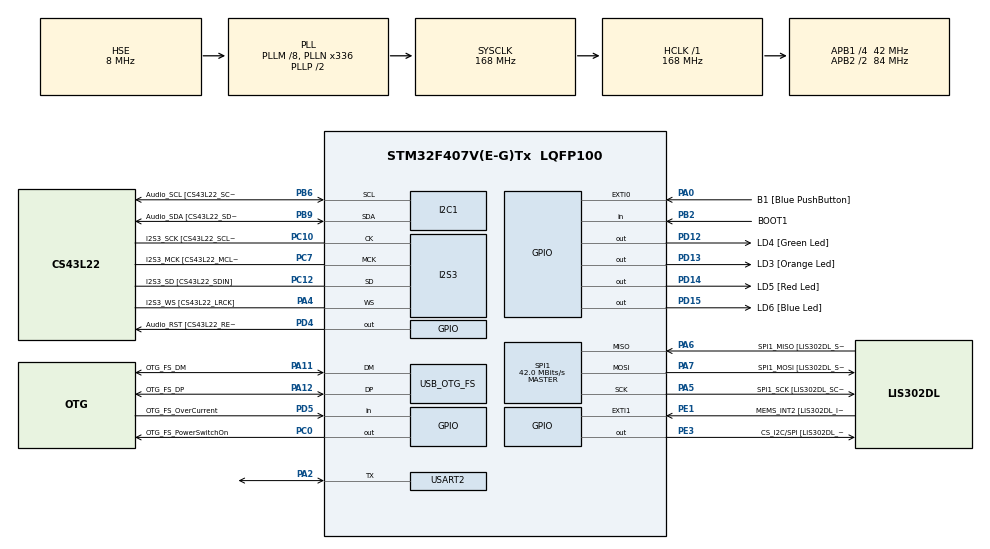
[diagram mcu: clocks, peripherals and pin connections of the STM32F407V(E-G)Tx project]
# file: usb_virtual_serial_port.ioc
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Mcu.Family=STM32F4
PA11.GPIO_Speed=GPIO_SPEED_FREQ_LOW
PC3.GPIO_Mode=GPIO_MODE_AF_PP
PD12.GPIO_Label=LD4 [Green Led]
PA6.Mode=Full_Duplex_Master
USB_DEVICE.CLASS_NAME_FS=CDC
PH0-OSC_IN.Signal=RCC_OSC_IN
RCC.CortexFreq_Value=168000000
PC10.GPIO_PuPd=GPIO_NOPULL
PB10.GPIO_Speed=GPIO_SPEED_FREQ_LOW
SPI1.VirtualType=VM_MASTER
PB6.GPIO_Mode=GPIO_MODE_AF_OD
PB10.GPIO_PuPd=GPIO_NOPULL
PA10.GPIO_PuPd=GPIO_NOPULL
PD15.GPIO_Speed=GPIO_SPEED_FREQ_LOW
PC10.Signal=I2S3_CK
PC12.Signal=I2S3_SD
PA14.GPIO_Label=SWCLK
PA7.GPIO_Mode=GPIO_MODE_AF_PP
PC0.GPIO_Label=OTG_FS_PowerSwitchOn
PA11.Mode=Device_Only
PA6.GPIO_Label=SPI1_MISO [LIS302DL_SDO]
PB6.GPIO_Label=Audio_SCL [CS43L22_SCL]
USB_DEVICE.VirtualMode-CDC_FS=Cdc
PC10.GPIO_Speed=GPIO_SPEED_FREQ_LOW
PA11.GPIO_PuPd=GPIO_NOPULL
PC15-OSC32_OUT.GPIO_Label=PC15-OSC32_OUT
PC3.GPIO_Speed=GPIO_SPEED_FREQ_LOW
RCC.SYSCLKSource=RCC_SYSCLKSOURCE_PLLCLK
ProjectManager.StackSize=0x400
PA6.GPIO_Mode=GPIO_MODE_AF_PP
SPI1.Mode-Full_Duplex_Master=SPI_MODE_MASTER
PD13.Signal=GPIO_Output
PD14.GPIO_Speed=GPIO_SPEED_FREQ_LOW
PA12.Signal=USB_OTG_FS_DP
PA4.Mode=Half_Duplex_Master
SPI1.Direction=SPI_DIRECTION_2LINES
I2S3.AudioFreq-Half_Duplex_Master=I2S_AUDIOFREQ_96K
RCC.HCLKFreq_Value=168000000
PD4.Signal=GPIO_Output
RCC.APB2TimFreq_Value=168000000
PB6.Signal=I2C1_SCL
PC7.Signal=I2S3_MCK
PB6.Mode=I2C
SPI1.CalculateBaudRate=42.0 MBits/s
PC3.Signal=I2S2_SD
PE1.Signal=GPXTI1
RCC.AHBFreq_Value=168000000
PH0-OSC_IN.Mode=HSE-External-Oscillator
PH0-OSC_IN.GPIO_Label=PH0-OSC_IN
PA9.GPIO_Mode=GPIO_MODE_INPUT
RCC.HSE_VALUE=8000000
PA4.GPIO_PuPd=GPIO_NOPULL
PB2.Signal=GPIO_Input
PA4.GPIO_Speed=GPIO_SPEED_FREQ_LOW
I2S3.ErrorAudioFreq=-2.34 %
PA6.GPIO_PuPd=GPIO_NOPULL
PA14.Mode=Serial_Wire
PA5.GPIO_PuPd=GPIO_NOPULL
I2S3.ErrorAudioFreq-Half_Duplex_Master=0.8 %
PA10.GPIO_Label=OTG_FS_ID
PC7.GPIO_Mode=GPIO_MODE_AF_PP
PD5.GPIO_Mode=GPIO_MODE_INPUT
PD14.GPIO_PuPd=GPIO_NOPULL
PB2.GPIO_PuPd=GPIO_NOPULL
SPI1.CalculateBaudRate-Full_Duplex_Master=42.0 MBits/s
PH1-OSC_OUT.Mode=HSE-External-Oscillator
PD13.GPIO_Label=LD3 [Orange Led]
Mcu.Package=LQFP100
PB9.Signal=I2C1_SDA
PA6.Signal=SPI1_MISO
USART2.VirtualMode=VM_ASYNC
PD12.Signal=GPIO_Output
PD5.GPIO_Label=OTG_FS_OverCurrent
NVIC.OTG_FS_IRQn=true\:0\:0\:false\:false\:true\:true\:true
PD15.GPIO_PuPd=GPIO_NOPULL
PA10.Signal=USB_OTG_FS_ID
PB9.GPIO_PuPd=GPIO_NOPULL
USB_OTG_FS.VirtualMode=Device_Only
PA10.GPIO_Speed=GPIO_SPEED_FREQ_LOW
RCC.APB2CLKDivider=RCC_HCLK_DIV2
PB9.GPIO_Speed=GPIO_SPEED_FREQ_LOW
RCC.APB1TimFreq_Value=84000000
PC14-OSC32_IN.GPIO_Label=PC14-OSC32_IN
PC12.GPIO_PuPd=GPIO_NOPULL
PA6.GPIO_Speed=GPIO_SPEED_FREQ_LOW
PC0.GPIO_PuPd=GPIO_NOPULL
PA12.GPIO_PuPd=GPIO_NOPULL
PA4.GPIO_Label=I2S3_WS [CS43L22_LRCK]
PD15.Signal=GPIO_Output
PC0.PinState=GPIO_PIN_SET
PA12.GPIO_Speed=GPIO_SPEED_FREQ_LOW
PA5.Mode=Full_Duplex_Master
PB3.GPIO_Label=SWO
I2S3.FullDuplexMode=I2S_FULLDUPLEXMODE_DISABLE
PD12.GPIO_Speed=GPIO_SPEED_FREQ_LOW
PD15.GPIO_Label=LD6 [Blue Led]
PA7.Mode=Full_Duplex_Master
PB9.GPIO_Label=Audio_SDA [CS43L22_SDA]
PC10.GPIO_Label=I2S3_SCK [CS43L22_SCLK]
USB_DEVICE.VirtualModeFS=Cdc_FS
PA9.GPIO_Label=VBUS_FS
PB6.GPIO_PuPd=GPIO_NOPULL
PC10.Mode=Half_Duplex_Master
PA11.GPIO_Label=OTG_FS_DM
PE1.GPIO_PuPd=GPIO_NOPULL
PD5.Signal=GPIO_Input
PC0.Signal=GPIO_Output
PE1.GPIO_ModeDefaultEXTI=GPIO_MODE_EVT_RISING
RCC.APB1CLKDivider=RCC_HCLK_DIV4
PC14-OSC32_IN.Signal=RCC_OSC32_IN
PA9.GPIO_PuPd=GPIO_NOPULL
NVIC.USART2_IRQn=true\:0\:0\:false\:false\:true\:true\:true
PA0-WKUP.GPIO_ModeDefaultEXTI=GPIO_MODE_EVT_RISING
PA12.GPIO_Label=OTG_FS_DP
PA0-WKUP.GPIO_Label=B1 [Blue PushButton]
PA0-WKUP.Signal=GPXTI0
PA10.GPIO_Mode=GPIO_MODE_AF_PP
PA13.Signal=SYS_JTMS-SWDIO
PC10.GPIO_Mode=GPIO_MODE_AF_PP
PD4.GPIO_PuPd=GPIO_NOPULL
PC0.GPIO_Speed=GPIO_SPEED_FREQ_LOW
PB10.GPIO_Mode=GPIO_MODE_AF_PP
I2S3.RealAudioFreq-Half_Duplex_Master=96.774 KHz
ProjectManager.TargetToolchain=STM32CubeIDE
PB10.GPIO_Label=CLK_IN [MP45DT02_CLK]
VP_USB_DEVICE_VS_USB_DEVICE_CDC_FS.Mode=CDC_FS
PB9.Mode=I2C
PA9.Signal=USB_OTG_FS_VBUS
I2S3.VirtualMode=I2S_MODE_MASTER
PC7.GPIO_PuPd=GPIO_NOPULL
RCC.LSE_VALUE=32768
PC15-OSC32_OUT.Signal=RCC_OSC32_OUT
PA7.GPIO_PuPd=GPIO_NOPULL
PB10.Signal=I2S2_CK
PA5.Signal=SPI1_SCK
PC12.Mode=Half_Duplex_Master
board=STM32F407G-DISC1
PD13.GPIO_Speed=GPIO_SPEED_FREQ_LOW
PC7.GPIO_Speed=GPIO_SPEED_FREQ_LOW
RCC.VCOOutputFreq_Value=336000000
PE1.GPIO_Label=MEMS_INT2 [LIS302DL_INT2]
PA7.GPIO_Speed=GPIO_SPEED_FREQ_LOW
PB9.GPIO_Mode=GPIO_MODE_AF_OD
PA12.GPIO_Mode=GPIO_MODE_AF_PP
PA4.GPIO_Mode=GPIO_MODE_AF_PP
RCC.APB2Freq_Value=84000000
PB2.GPIO_Mode=GPIO_MODE_INPUT
SPI1.Mode=SPI_MODE_MASTER
PD4.GPIO_Label=Audio_RST [CS43L22_RESET]
PD4.GPIO_Speed=GPIO_SPEED_FREQ_LOW
PE3.GPIO_PuPd=GPIO_NOPULL
PH1-OSC_OUT.Signal=RCC_OSC_OUT
PD13.GPIO_PuPd=GPIO_NOPULL
PD5.GPIO_PuPd=GPIO_NOPULL
PD14.GPIO_Label=LD5 [Red Led]
PH1-OSC_OUT.GPIO_Label=PH1-OSC_OUT
PA13.Mode=Serial_Wire
Mcu.Name=STM32F407V(E-G)Tx
PA2.Signal=USART2_TX
PA13.GPIO_Label=SWDIO
PC7.GPIO_Label=I2S3_MCK [CS43L22_MCLK]
PD14.Signal=GPIO_Output
RCC.48MHZClocksFreq_Value=48000000
PB3.Signal=SYS_JTDO-SWO
PA4.Signal=I2S3_WS
RCC.SYSCLKFreq_VALUE=168000000
PC12.GPIO_Mode=GPIO_MODE_AF_PP
PA7.GPIO_Label=SPI1_MOSI [LIS302DL_SDA/SDI/SDO]
PA12.Mode=Device_Only
PA5.GPIO_Label=SPI1_SCK [LIS302DL_SCL/SPC]
PE3.GPIO_Speed=GPIO_SPEED_FREQ_LOW
PC12.GPIO_Label=I2S3_SD [CS43L22_SDIN]
PA11.Signal=USB_OTG_FS_DM
PA14.Signal=SYS_JTCK-SWCLK
PB2.GPIO_Label=BOOT1
ProjectManager.HeapSize=0x200
RCC.HSI_VALUE=16000000
PA5.GPIO_Speed=GPIO_SPEED_FREQ_LOW
RCC.PLLQ=7
NVIC.PriorityGroup=NVIC_PRIORITYGROUP_0
I2S3.RealAudioFreq=93.75 KHz
RCC.PLLM=8
RCC.PLLN=336
PE3.Signal=GPIO_Output
PA2.Mode=Half_duplex(single_wire_mode)
PE3.GPIO_Label=CS_I2C/SPI [LIS302DL_CS_I2C/SPI]
PC3.GPIO_Label=PDM_OUT [MP45DT02_DOUT]
PA0-WKUP.GPIO_PuPd=GPIO_NOPULL
I2S3.Instance=SPI$Index
PC7.Mode=Master_Clock_Activated
PA11.GPIO_Mode=GPIO_MODE_AF_PP
PB6.GPIO_Speed=GPIO_SPEED_FREQ_LOW
RCC.APB1Freq_Value=42000000
PA5.GPIO_Mode=GPIO_MODE_AF_PP
PC12.GPIO_Speed=GPIO_SPEED_FREQ_LOW
SPI1.BaudRatePrescaler-Full_Duplex_Master=SPI_BAUDRATEPRESCALER_2
PC3.GPIO_PuPd=GPIO_NOPULL
PD12.GPIO_PuPd=GPIO_NOPULL
PA7.Signal=SPI1_MOSI

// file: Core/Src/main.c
/* USER CODE BEGIN Header */
/**
  ******************************************************************************
  * @file           : main.c
  * @brief          : Main program body
  ******************************************************************************
  * @attention
  *
  * <h2><center>&copy; Copyright (c) 2022 STMicroelectronics.
  * All rights reserved.</center></h2>
  *
  * This software component is licensed by ST under Ultimate Liberty license
  * SLA0044, the "License"; You may not use this file except in compliance with
  * the License. You may obtain a copy of the License at:
  *                             www.st.com/SLA0044
  *
  ******************************************************************************
  */
/* USER CODE END Header */
#include "main.h"
#include "usb_device.h"

/* USER CODE BEGIN Includes */
#include "onewire.h"
#include "bme280.h"
/* USER CODE END Includes */

I2C_HandleTypeDef hi2c1;

I2S_HandleTypeDef hi2s3;

SPI_HandleTypeDef hspi1;

UART_HandleTypeDef huart2;

void SystemClock_Config(void);
static void MX_GPIO_Init(void);
static void MX_I2C1_Init(void);
static void MX_I2S3_Init(void);
static void MX_SPI1_Init(void);
static void MX_USART2_UART_Init(void);

/* USER CODE BEGIN 0 */
extern float Temp[MAXDEVICES_ON_THE_BUS];
float Pressure, Humidity;
float Temperature;
/* USER CODE END 0 */

int main(void)
{

  /* MCU Configuration--------------------------------------------------------*/

  /* Reset of all peripherals, Initializes the Flash interface and the Systick. */
  HAL_Init();

  /* Configure the system clock */
  SystemClock_Config();

  /* Initialize all configured peripherals */
  MX_GPIO_Init();
  MX_I2C1_Init();
  MX_I2S3_Init();
  MX_SPI1_Init();
  MX_USB_DEVICE_Init();
  MX_USART2_UART_Init();
  /* USER CODE BEGIN 2 */
  get_ROMid();
  BME280_Config(OSRS_2, OSRS_16, OSRS_1, MODE_NORMAL, T_SB_0p5, IIR_16);

  /* USER CODE END 2 */

  /* Infinite loop */
  while (1)
  {

    /* USER CODE BEGIN 3 */
	uint8_t msg_buffer[64];

	get_Temperature();
	snprintf(msg_buffer, sizeof(msg_buffer), "DS18B20 temp = %.1f\r\n", Temp[0]);
	CDC_Transmit_FS((uint8_t*)msg_buffer, strlen(msg_buffer));

	BME280_Measure();
	snprintf(msg_buffer, sizeof(msg_buffer), "BME280 temp = %.1f, pressure = %.1f, humidity = %.1f\r\n", Temperature, Pressure, Humidity);
	CDC_Transmit_FS((uint8_t*)msg_buffer, strlen(msg_buffer));

	HAL_GPIO_TogglePin (GPIOD, GPIO_PIN_12);
	HAL_Delay (2000);   /* Insert delay 1 s */
  }
  /* USER CODE END 3 */
}

void SystemClock_Config(void)
{
  RCC_OscInitTypeDef RCC_OscInitStruct = {0};
  RCC_ClkInitTypeDef RCC_ClkInitStruct = {0};
  RCC_PeriphCLKInitTypeDef PeriphClkInitStruct = {0};

  /** Configure the main internal regulator output voltage
  */
  __HAL_RCC_PWR_CLK_ENABLE();
  __HAL_PWR_VOLTAGESCALING_CONFIG(PWR_REGULATOR_VOLTAGE_SCALE1);
  /** Initializes the RCC Oscillators according to the specified parameters
  * in the RCC_OscInitTypeDef structure.
  */
  RCC_OscInitStruct.OscillatorType = RCC_OSCILLATORTYPE_HSE;
  RCC_OscInitStruct.HSEState = RCC_HSE_ON;
  RCC_OscInitStruct.PLL.PLLState = RCC_PLL_ON;
  RCC_OscInitStruct.PLL.PLLSource = RCC_PLLSOURCE_HSE;
  RCC_OscInitStruct.PLL.PLLM = 8;
  RCC_OscInitStruct.PLL.PLLN = 336;
  RCC_OscInitStruct.PLL.PLLP = RCC_PLLP_DIV2;
  RCC_OscInitStruct.PLL.PLLQ = 7;
  if (HAL_RCC_OscConfig(&RCC_OscInitStruct) != HAL_OK)
  {
    Error_Handler();
  }
  /** Initializes the CPU, AHB and APB buses clocks
  */
  RCC_ClkInitStruct.ClockType = RCC_CLOCKTYPE_HCLK|RCC_CLOCKTYPE_SYSCLK
                              |RCC_CLOCKTYPE_PCLK1|RCC_CLOCKTYPE_PCLK2;
  RCC_ClkInitStruct.SYSCLKSource = RCC_SYSCLKSOURCE_PLLCLK;
  RCC_ClkInitStruct.AHBCLKDivider = RCC_SYSCLK_DIV1;
  RCC_ClkInitStruct.APB1CLKDivider = RCC_HCLK_DIV4;
  RCC_ClkInitStruct.APB2CLKDivider = RCC_HCLK_DIV2;

  if (HAL_RCC_ClockConfig(&RCC_ClkInitStruct, FLASH_LATENCY_5) != HAL_OK)
  {
    Error_Handler();
  }
  PeriphClkInitStruct.PeriphClockSelection = RCC_PERIPHCLK_I2S;
  PeriphClkInitStruct.PLLI2S.PLLI2SN = 192;
  PeriphClkInitStruct.PLLI2S.PLLI2SR = 2;
  if (HAL_RCCEx_PeriphCLKConfig(&PeriphClkInitStruct) != HAL_OK)
  {
    Error_Handler();
  }
}

static void MX_I2C1_Init(void)
{

  hi2c1.Instance = I2C1;
  hi2c1.Init.ClockSpeed = 100000;
  hi2c1.Init.DutyCycle = I2C_DUTYCYCLE_2;
  hi2c1.Init.OwnAddress1 = 0;
  hi2c1.Init.AddressingMode = I2C_ADDRESSINGMODE_7BIT;
  hi2c1.Init.DualAddressMode = I2C_DUALADDRESS_DISABLE;
  hi2c1.Init.OwnAddress2 = 0;
  hi2c1.Init.GeneralCallMode = I2C_GENERALCALL_DISABLE;
  hi2c1.Init.NoStretchMode = I2C_NOSTRETCH_DISABLE;
  if (HAL_I2C_Init(&hi2c1) != HAL_OK)
  {
    Error_Handler();
  }

}

static void MX_I2S3_Init(void)
{

  hi2s3.Instance = SPI3;
  hi2s3.Init.Mode = I2S_MODE_MASTER_TX;
  hi2s3.Init.Standard = I2S_STANDARD_PHILIPS;
  hi2s3.Init.DataFormat = I2S_DATAFORMAT_16B;
  hi2s3.Init.MCLKOutput = I2S_MCLKOUTPUT_ENABLE;
  hi2s3.Init.AudioFreq = I2S_AUDIOFREQ_96K;
  hi2s3.Init.CPOL = I2S_CPOL_LOW;
  hi2s3.Init.ClockSource = I2S_CLOCK_PLL;
  hi2s3.Init.FullDuplexMode = I2S_FULLDUPLEXMODE_DISABLE;
  if (HAL_I2S_Init(&hi2s3) != HAL_OK)
  {
    Error_Handler();
  }

}

static void MX_SPI1_Init(void)
{

  /* SPI1 parameter configuration*/
  hspi1.Instance = SPI1;
  hspi1.Init.Mode = SPI_MODE_MASTER;
  hspi1.Init.Direction = SPI_DIRECTION_2LINES;
  hspi1.Init.DataSize = SPI_DATASIZE_8BIT;
  hspi1.Init.CLKPolarity = SPI_POLARITY_LOW;
  hspi1.Init.CLKPhase = SPI_PHASE_1EDGE;
  hspi1.Init.NSS = SPI_NSS_SOFT;
  hspi1.Init.BaudRatePrescaler = SPI_BAUDRATEPRESCALER_2;
  hspi1.Init.FirstBit = SPI_FIRSTBIT_MSB;
  hspi1.Init.TIMode = SPI_TIMODE_DISABLE;
  hspi1.Init.CRCCalculation = SPI_CRCCALCULATION_DISABLE;
  hspi1.Init.CRCPolynomial = 10;
  if (HAL_SPI_Init(&hspi1) != HAL_OK)
  {
    Error_Handler();
  }

}

static void MX_USART2_UART_Init(void)
{

  huart2.Instance = USART2;
  huart2.Init.BaudRate = 115200;
  huart2.Init.WordLength = UART_WORDLENGTH_8B;
  huart2.Init.StopBits = UART_STOPBITS_1;
  huart2.Init.Parity = UART_PARITY_NONE;
  huart2.Init.Mode = UART_MODE_TX_RX;
  huart2.Init.HwFlowCtl = UART_HWCONTROL_NONE;
  huart2.Init.OverSampling = UART_OVERSAMPLING_16;
  if (HAL_HalfDuplex_Init(&huart2) != HAL_OK)
  {
    Error_Handler();
  }

}

static void MX_GPIO_Init(void)
{
  GPIO_InitTypeDef GPIO_InitStruct = {0};

  /* GPIO Ports Clock Enable */
  __HAL_RCC_GPIOE_CLK_ENABLE();
  __HAL_RCC_GPIOC_CLK_ENABLE();
  __HAL_RCC_GPIOH_CLK_ENABLE();
  __HAL_RCC_GPIOA_CLK_ENABLE();
  __HAL_RCC_GPIOB_CLK_ENABLE();
  __HAL_RCC_GPIOD_CLK_ENABLE();

  /*Configure GPIO pin Output Level */
  HAL_GPIO_WritePin(CS_I2C_SPI_GPIO_Port, CS_I2C_SPI_Pin, GPIO_PIN_RESET);

  /*Configure GPIO pin Output Level */
  HAL_GPIO_WritePin(OTG_FS_PowerSwitchOn_GPIO_Port, OTG_FS_PowerSwitchOn_Pin, GPIO_PIN_SET);

  /*Configure GPIO pin Output Level */
  HAL_GPIO_WritePin(GPIOD, LD4_Pin|LD3_Pin|LD5_Pin|LD6_Pin
                          |Audio_RST_Pin, GPIO_PIN_RESET);

  /*Configure GPIO pin : CS_I2C_SPI_Pin */
  GPIO_InitStruct.Pin = CS_I2C_SPI_Pin;
  GPIO_InitStruct.Mode = GPIO_MODE_OUTPUT_PP;
  GPIO_InitStruct.Pull = GPIO_NOPULL;
  GPIO_InitStruct.Speed = GPIO_SPEED_FREQ_LOW;
  HAL_GPIO_Init(CS_I2C_SPI_GPIO_Port, &GPIO_InitStruct);

  /*Configure GPIO pin : OTG_FS_PowerSwitchOn_Pin */
  GPIO_InitStruct.Pin = OTG_FS_PowerSwitchOn_Pin;
  GPIO_InitStruct.Mode = GPIO_MODE_OUTPUT_PP;
  GPIO_InitStruct.Pull = GPIO_NOPULL;
  GPIO_InitStruct.Speed = GPIO_SPEED_FREQ_LOW;
  HAL_GPIO_Init(OTG_FS_PowerSwitchOn_GPIO_Port, &GPIO_InitStruct);

  /*Configure GPIO pin : PDM_OUT_Pin */
  GPIO_InitStruct.Pin = PDM_OUT_Pin;
  GPIO_InitStruct.Mode = GPIO_MODE_AF_PP;
  GPIO_InitStruct.Pull = GPIO_NOPULL;
  GPIO_InitStruct.Speed = GPIO_SPEED_FREQ_LOW;
  GPIO_InitStruct.Alternate = GPIO_AF5_SPI2;
  HAL_GPIO_Init(PDM_OUT_GPIO_Port, &GPIO_InitStruct);

  /*Configure GPIO pin : B1_Pin */
  GPIO_InitStruct.Pin = B1_Pin;
  GPIO_InitStruct.Mode = GPIO_MODE_EVT_RISING;
  GPIO_InitStruct.Pull = GPIO_NOPULL;
  HAL_GPIO_Init(B1_GPIO_Port, &GPIO_InitStruct);

  /*Configure GPIO pin : BOOT1_Pin */
  GPIO_InitStruct.Pin = BOOT1_Pin;
  GPIO_InitStruct.Mode = GPIO_MODE_INPUT;
  GPIO_InitStruct.Pull = GPIO_NOPULL;
  HAL_GPIO_Init(BOOT1_GPIO_Port, &GPIO_InitStruct);

  /*Configure GPIO pin : CLK_IN_Pin */
  GPIO_InitStruct.Pin = CLK_IN_Pin;
  GPIO_InitStruct.Mode = GPIO_MODE_AF_PP;
  GPIO_InitStruct.Pull = GPIO_NOPULL;
  GPIO_InitStruct.Speed = GPIO_SPEED_FREQ_LOW;
  GPIO_InitStruct.Alternate = GPIO_AF5_SPI2;
  HAL_GPIO_Init(CLK_IN_GPIO_Port, &GPIO_InitStruct);

  /*Configure GPIO pins : LD4_Pin LD3_Pin LD5_Pin LD6_Pin
                           Audio_RST_Pin */
  GPIO_InitStruct.Pin = LD4_Pin|LD3_Pin|LD5_Pin|LD6_Pin
                          |Audio_RST_Pin;
  GPIO_InitStruct.Mode = GPIO_MODE_OUTPUT_PP;
  GPIO_InitStruct.Pull = GPIO_NOPULL;
  GPIO_InitStruct.Speed = GPIO_SPEED_FREQ_LOW;
  HAL_GPIO_Init(GPIOD, &GPIO_InitStruct);

  /*Configure GPIO pin : OTG_FS_OverCurrent_Pin */
  GPIO_InitStruct.Pin = OTG_FS_OverCurrent_Pin;
  GPIO_InitStruct.Mode = GPIO_MODE_INPUT;
  GPIO_InitStruct.Pull = GPIO_NOPULL;
  HAL_GPIO_Init(OTG_FS_OverCurrent_GPIO_Port, &GPIO_InitStruct);

  /*Configure GPIO pin : MEMS_INT2_Pin */
  GPIO_InitStruct.Pin = MEMS_INT2_Pin;
  GPIO_InitStruct.Mode = GPIO_MODE_EVT_RISING;
  GPIO_InitStruct.Pull = GPIO_NOPULL;
  HAL_GPIO_Init(MEMS_INT2_GPIO_Port, &GPIO_InitStruct);

}

void Error_Handler(void)
{
  __disable_irq();
  while (1)
  {
  }
}

/************************ (C) COPYRIGHT STMicroelectronics *****END OF FILE****/
